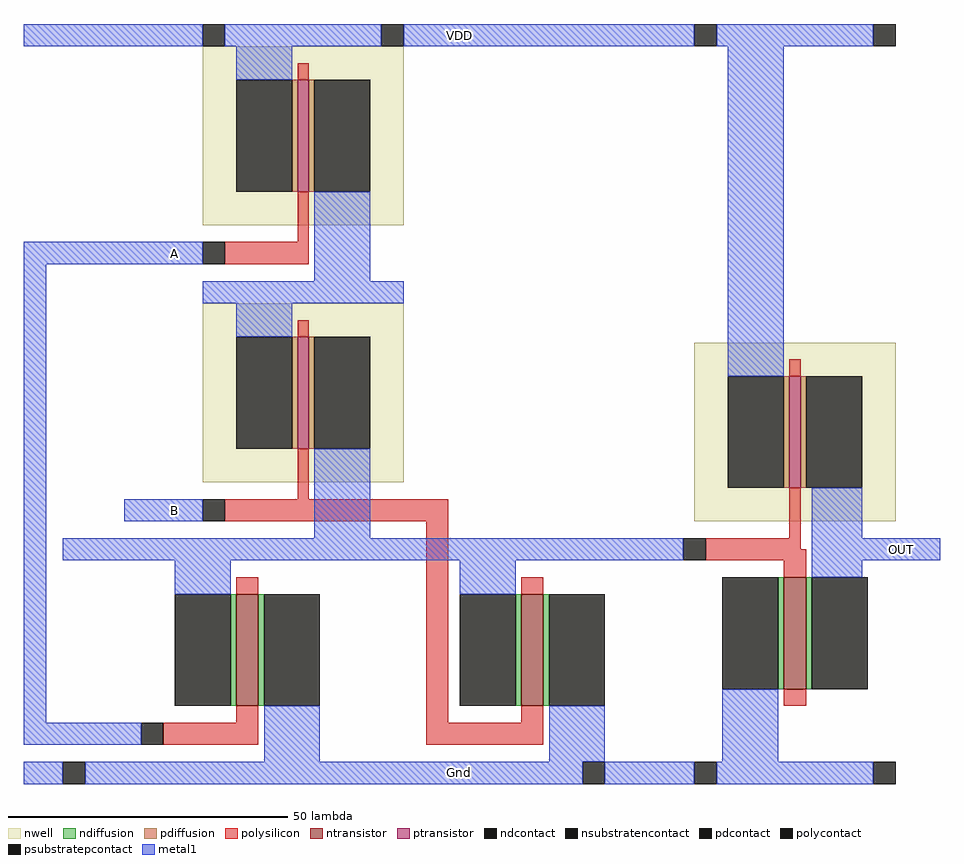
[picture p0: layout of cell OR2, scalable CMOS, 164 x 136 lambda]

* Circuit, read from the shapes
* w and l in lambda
.subckt OR2 A B Gnd OUT VDD
M1 Gnd A n1 Gnd nfet w=20 l=4
M2 Gnd B n1 Gnd nfet w=20 l=4
M3 OUT n1 Gnd Gnd nfet w=20 l=4
M4 n1 B n2 n3 pfet w=20 l=2
M5 n2 A VDD n4 pfet w=20 l=2
M6 OUT n1 VDD n5 pfet w=20 l=2
.ends

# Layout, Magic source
magic
tech scmos
<< nwell >>
rect 287 106 323 138
rect 287 60 323 92
rect 375 53 411 85
<< ntransistor >>
rect 293 20 297 40
rect 344 20 348 40
rect 391 23 395 43
<< ptransistor >>
rect 304 112 306 132
rect 304 66 306 86
rect 392 59 394 79
<< ndiffusion >>
rect 292 20 293 40
rect 297 20 298 40
rect 343 20 344 40
rect 348 20 349 40
rect 390 23 391 43
rect 395 23 396 43
<< pdiffusion >>
rect 303 112 304 132
rect 306 112 307 132
rect 303 66 304 86
rect 306 66 307 86
rect 391 59 392 79
rect 394 59 395 79
<< ndcontact >>
rect 282 20 292 40
rect 298 20 308 40
rect 333 20 343 40
rect 349 20 359 40
rect 380 23 390 43
rect 396 23 406 43
<< pdcontact >>
rect 293 112 303 132
rect 307 112 317 132
rect 293 66 303 86
rect 307 66 317 86
rect 381 59 391 79
rect 395 59 405 79
<< psubstratepcontact >>
rect 262 6 266 10
rect 355 6 359 10
rect 375 6 379 10
rect 407 6 411 10
<< nsubstratencontact >>
rect 287 138 291 142
rect 319 138 323 142
rect 375 138 379 142
rect 407 138 411 142
<< polysilicon >>
rect 304 132 306 135
rect 304 103 306 112
rect 291 99 306 103
rect 304 86 306 89
rect 392 79 394 82
rect 304 57 306 66
rect 291 53 331 57
rect 293 40 297 43
rect 293 17 297 20
rect 280 13 297 17
rect 327 17 331 53
rect 392 50 394 59
rect 377 48 394 50
rect 377 46 395 48
rect 391 43 395 46
rect 344 40 348 43
rect 391 20 395 23
rect 344 17 348 20
rect 327 13 348 17
<< polycontact >>
rect 287 99 291 103
rect 287 53 291 57
rect 276 13 280 17
rect 373 46 377 50
<< metal1 >>
rect 255 138 287 142
rect 291 138 319 142
rect 323 138 375 142
rect 379 138 407 142
rect 293 132 303 138
rect 255 99 287 103
rect 255 17 259 99
rect 307 96 317 112
rect 287 92 323 96
rect 293 86 303 92
rect 273 53 287 57
rect 307 50 317 66
rect 381 79 391 138
rect 396 50 405 59
rect 262 46 373 50
rect 396 46 419 50
rect 282 40 292 46
rect 333 40 343 46
rect 396 43 405 46
rect 255 13 276 17
rect 298 10 308 20
rect 349 10 359 20
rect 380 10 390 23
rect 255 6 262 10
rect 266 6 355 10
rect 359 6 375 10
rect 379 6 407 10
<< labels >>
rlabel metal1 273 99 291 103 1 A
rlabel metal1 273 53 291 57 1 B
rlabel metal1 405 46 419 50 1 OUT
rlabel metal1 255 138 411 142 5 VDD
rlabel metal1 255 6 411 10 1 Gnd
<< end >>
